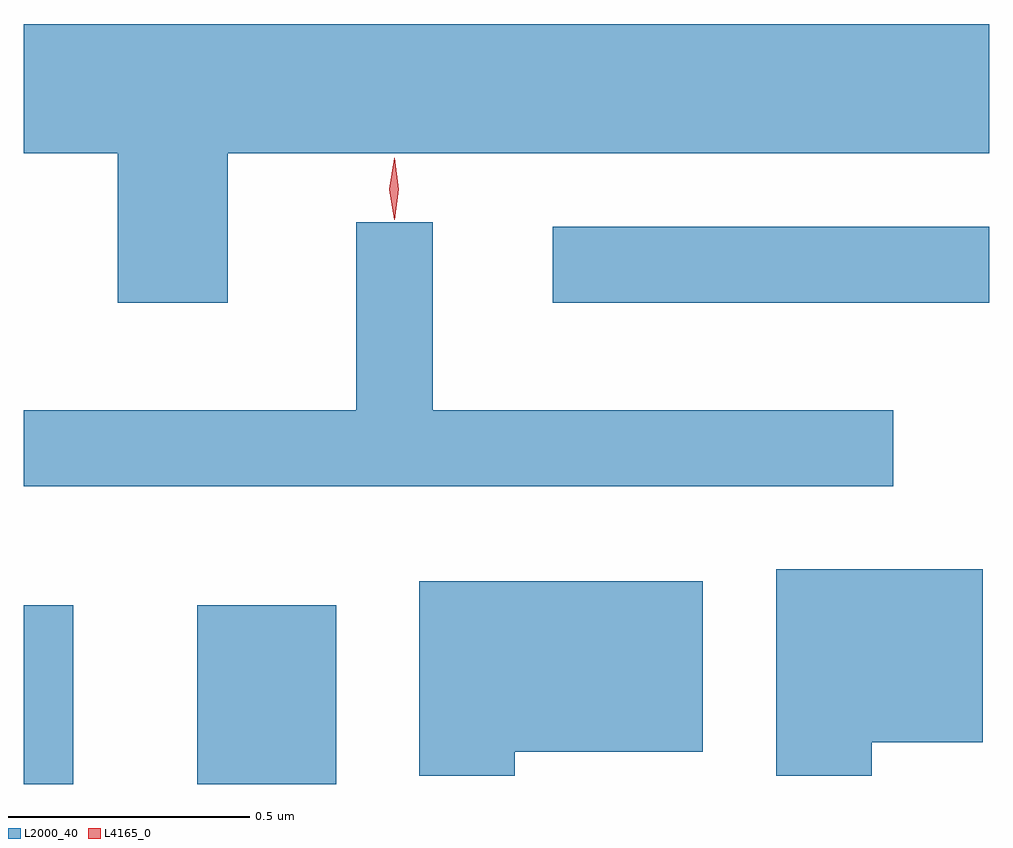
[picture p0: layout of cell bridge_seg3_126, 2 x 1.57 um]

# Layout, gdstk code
import gdstk
lib = gdstk.Library(unit=1e-6, precision=1e-09)
def R(c, l, rs):  # rectangles x0, y0, x1, y1
    for r in rs: c.add(gdstk.rectangle(r[:2], r[2:], *l))
def P(c, l, *ps):  # polygons
    for p in ps: c.add(gdstk.Polygon(p, *l))
L2000_40 = (2000, 40)
L4165_0 = (4165, 0)

bridge_seg3_126 = lib.new_cell('bridge_seg3_126')
R(bridge_seg3_126, L2000_40, [(1055.117,1197.969,1055.219,1198.339), (1055.476,1197.969,1055.764,1198.339), (1056.213,1198.966,1057.117,1199.124)])
P(bridge_seg3_126, L2000_40, [(1055.539,1199.276),(1057.117,1199.276),(1057.117,1199.544),(1055.117,1199.544),(1055.117,1199.276),(1055.311,1199.276),(1055.311,1198.966),(1055.539,1198.966)],
  [(1056.918,1198.744),(1055.964,1198.744),(1055.964,1199.133),(1055.806,1199.133),(1055.806,1198.744),(1055.117,1198.744),(1055.117,1198.586),(1056.918,1198.586)],
  [(1056.874,1198.056),(1057.104,1198.056),(1057.104,1198.414),(1056.676,1198.414),(1056.676,1197.986),(1056.874,1197.986)],
  [(1056.134,1198.036),(1056.524,1198.036),(1056.524,1198.389),(1055.936,1198.389),(1055.936,1197.986),(1056.134,1197.986)])
P(bridge_seg3_126, L4165_0, [(1055.884,1199.138),(1055.874,1199.202),(1055.884,1199.266),(1055.884,1199.267),(1055.885,1199.266),(1055.894,1199.202),(1055.885,1199.138),(1055.885,1199.138)])

lib.write_gds('bridge_seg3_126.gds')
